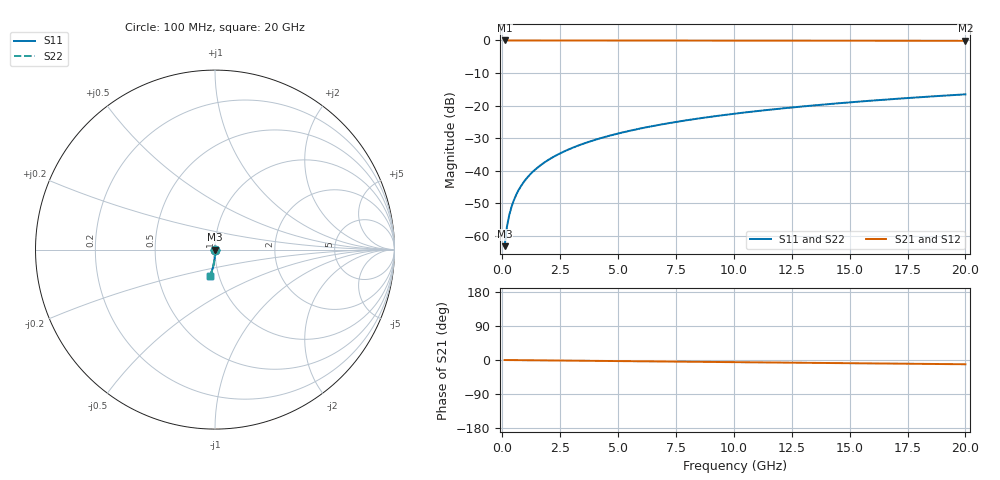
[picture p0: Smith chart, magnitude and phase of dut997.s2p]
! Touchstone file exported from HFSS 2026.1.0
!  File:  C:/ffzhzh/LocalFiles/Ansys_Project_Files/temp_train_TSV_997_1783188330_18472.aedt
!  Generated:  02:06:44 AM Jul  5, 2026
!  Design:  TSV
!  Project:  temp_train_TSV_997_1783188330_18472
! Variables:
!  h_bsmrdl = 2um
!  h_ox = 20um
!  h_rdl = 5um
!  h_sub = 78.58um
!  h_tmrdl = 5um
!  h_tsv = 78.58um
!  h_via = 3um
!  l_bsmrdl = 300um
!  l_sub = 423.02um
!  l_tmrdl = 200um
!  m_sub = 200um
!  pitch = 25.6um
!  r_tsv = 11.51um
!  s_tmrdl = 10um
!  w_bsmrdl = 18um
!  w_sub = 500um
!  w_tmrdl = 12um
!  x_tsv_center1 = 206um
!  x_tsv_center2 = 524um
!  x_tsv_center3 = 736um
!  x_tsv_center4 = 1054um
!  x_tsv_center5 = 1266um
!  x_tsv_center6 = 1584um
# GHz S MA R 50.000000
! Terminal data exported
! Port[1] = TSV1_1_T1
! Port[2] = TSV1_1_T2
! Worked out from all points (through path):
!   200 points, 100 MHz to 20 GHz, reference 50 ohm
!   highest |S21| = 0.00 dB at 100 MHz (marker M1); lowest = -0.1 dB at 20 GHz (marker M2)
!   group delay of S21, straight-line fit = 1.56 ps
!   lowest |S11| = -63.2 dB at 100 MHz (marker M3), VSWR 1.00, Z = 50 - j0.0683 ohm
!   |S11| at or under -10 dB: start of sweep to end of sweep
!   |S22| runs from -63.2 to -16.5 dB; largest |S21 - S12| = 1.5e-15
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0.1  0.0006941 -79.7  0.9999 -0.1  0.9999 -0.1  0.0006941 -79.7
! Gamma 0 0 0 0
! Port Impedance 50 0 50 0
0.2  0.001381 -83.9  0.9998 -0.1  0.9998 -0.1  0.001381 -83.9
0.3  0.002084 -85.0  0.9998 -0.2  0.9998 -0.2  0.002084 -85.0
0.4  0.002801 -85.6  0.9998 -0.2  0.9998 -0.2  0.002801 -85.6
0.5  0.003529 -86.0  0.9997 -0.3  0.9997 -0.3  0.003529 -86.0
0.7  0.005007 -86.6  0.9996 -0.4  0.9996 -0.4  0.005007 -86.6
0.8  0.005753 -86.8  0.9996 -0.5  0.9996 -0.5  0.005753 -86.8
1  0.007249 -87.3  0.9996 -0.6  0.9996 -0.6  0.007249 -87.3
1.2  0.008748 -87.7  0.9995 -0.7  0.9995 -0.7  0.008748 -87.7
1.4  0.01025 -88.1  0.9995 -0.8  0.9995 -0.8  0.01025 -88.1
1.7  0.0125 -88.6  0.9994 -1.0  0.9994 -1.0  0.0125 -88.6
2  0.01474 -89.0  0.9993 -1.2  0.9993 -1.2  0.01474 -89.0
2.7  0.01998 -89.7  0.9992 -1.5  0.9992 -1.5  0.01998 -89.7
3.5  0.02598 -90.4  0.9989 -2.0  0.9989 -2.0  0.02598 -90.4
4.2  0.03124 -90.9  0.9987 -2.4  0.9987 -2.4  0.03124 -90.9
5  0.03725 -91.5  0.9984 -2.9  0.9984 -2.9  0.03725 -91.5
6.8  0.05079 -92.7  0.9977 -3.9  0.9977 -3.9  0.05079 -92.7
8.3  0.06207 -93.6  0.9969 -4.7  0.9969 -4.7  0.06207 -93.6
10.1  0.07557 -94.7  0.9958 -5.7  0.9958 -5.7  0.07557 -94.7
13.4  0.1002 -96.7  0.9935 -7.6  0.9935 -7.6  0.1002 -96.7
16.7  0.1246 -98.6  0.9905 -9.4  0.9905 -9.4  0.1246 -98.6
20  0.1488 -100.5  0.987 -11.2  0.987 -11.2  0.1488 -100.5
